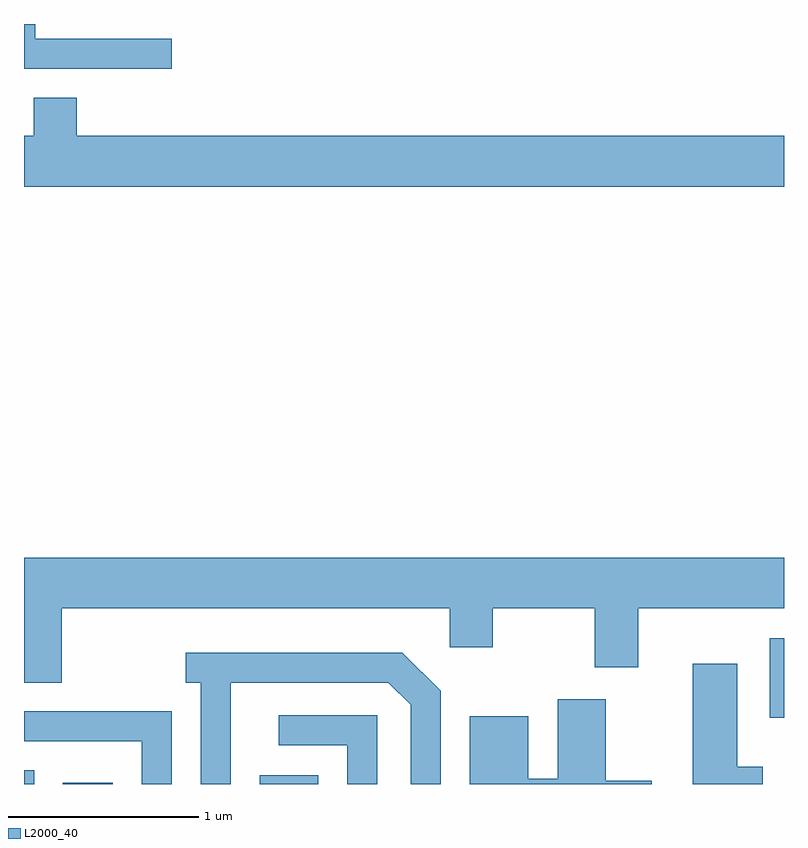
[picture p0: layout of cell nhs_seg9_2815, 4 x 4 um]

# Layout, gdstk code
import gdstk
lib = gdstk.Library(unit=1e-6, precision=1e-09)
def R(c, l, rs):  # rectangles x0, y0, x1, y1
    for r in rs: c.add(gdstk.rectangle(r[:2], r[2:], *l))
def P(c, l, *ps):  # polygons
    for p in ps: c.add(gdstk.Polygon(p, *l))
L2000_40 = (2000, 40)

nhs_seg9_2815 = lib.new_cell('nhs_seg9_2815')
R(nhs_seg9_2815, L2000_40, [(267.611,2006.432,267.664,2006.504), (267.816,2006.432,268.079,2006.439), (268.851,2006.432,269.159,2006.479), (271.536,2006.781,271.611,2007.199)])
P(nhs_seg9_2815, L2000_40, [(268.388,2010.354),(267.669,2010.354),(267.669,2010.432),(267.611,2010.432),(267.611,2010.196),(268.388,2010.196)],
  [(271.611,2009.844),(267.889,2009.844),(267.889,2010.044),(267.661,2010.044),(267.661,2009.844),(267.611,2009.844),(267.611,2009.576),(271.611,2009.576)],
  [(267.809,2007.356),(269.851,2007.356),(269.851,2007.151),(270.079,2007.151),(270.079,2007.356),(270.616,2007.356),(270.616,2007.046),(270.844,2007.046),(270.844,2007.356),(271.611,2007.356),(271.611,2007.624),(267.611,2007.624),(267.611,2006.966),(267.809,2006.966)],
  [(268.699,2006.966),(269.529,2006.966),(269.646,2006.849),(269.646,2006.432),(269.804,2006.432),(269.804,2006.922),(269.602,2007.124),(268.463,2007.124),(268.463,2006.966),(268.541,2006.966),(268.541,2006.432),(268.699,2006.432)],
  [(271.499,2006.524),(271.364,2006.524),(271.364,2007.064),(271.131,2007.064),(271.131,2006.432),(271.499,2006.432)],
  [(270.914,2006.449),(270.674,2006.449),(270.674,2006.879),(270.421,2006.879),(270.421,2006.459),(270.264,2006.459),(270.264,2006.789),(269.956,2006.789),(269.956,2006.432),(270.914,2006.432)],
  [(268.389,2006.814),(267.611,2006.814),(267.611,2006.656),(268.231,2006.656),(268.231,2006.432),(268.389,2006.432)],
  [(269.469,2006.794),(268.953,2006.794),(268.953,2006.636),(269.311,2006.636),(269.311,2006.432),(269.469,2006.432)])

lib.write_gds('nhs_seg9_2815.gds')
